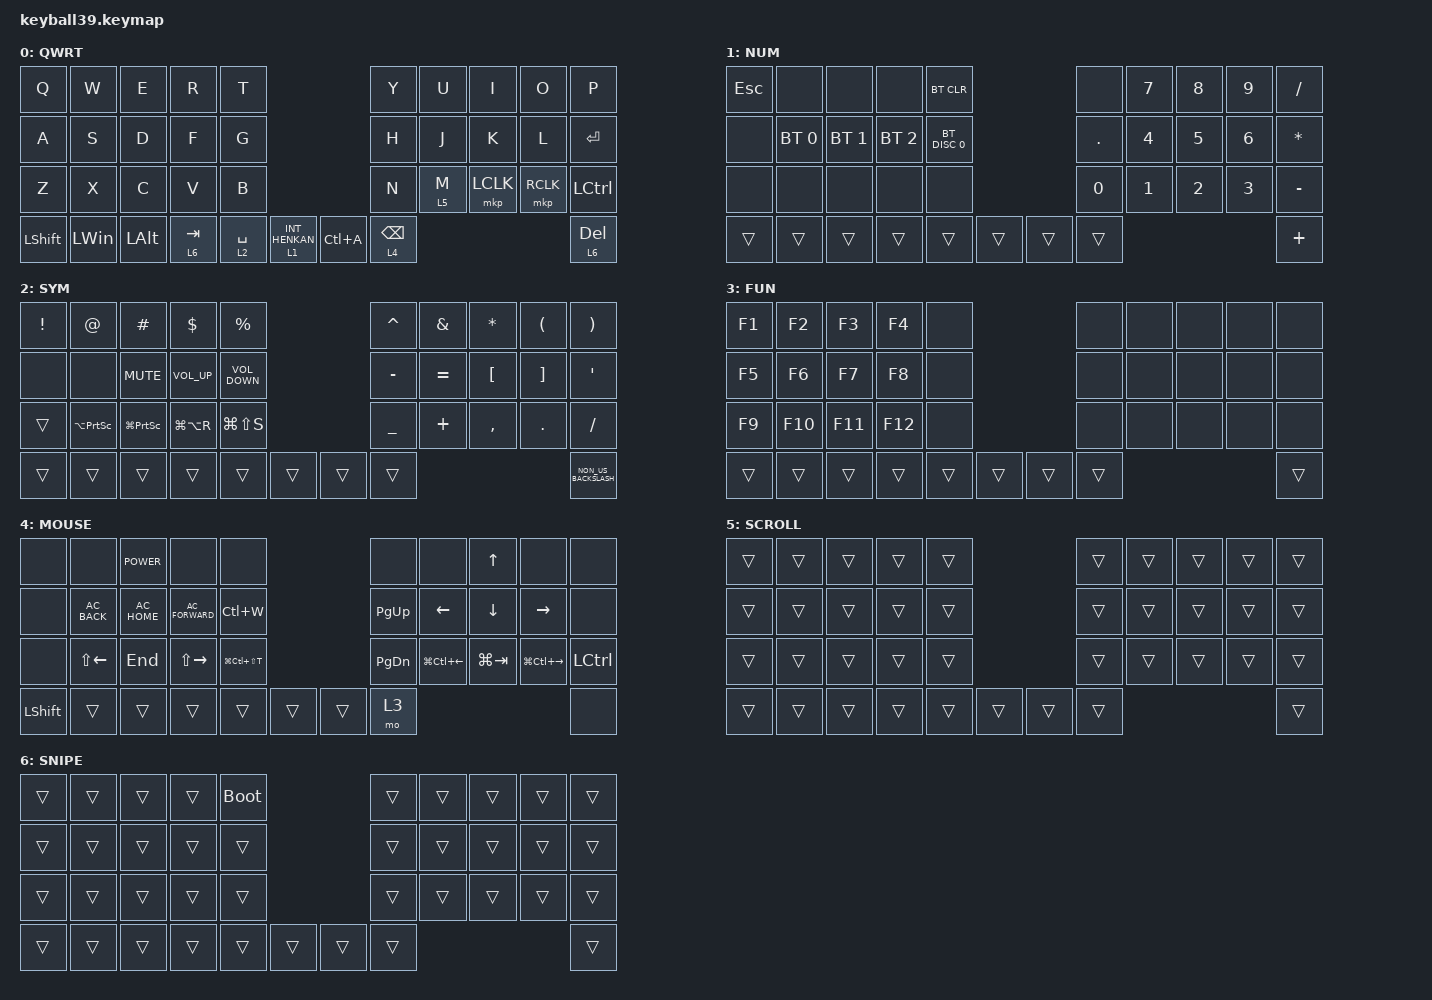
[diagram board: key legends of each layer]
#define DEFAULT 0
#define NUM     1
#define SYM     2
#define FUN     3
#define MOUSE   4
#define SCROLL  5
#define SNIPE   6

#include <behaviors/mouse_keys.dtsi>
#include <dt-bindings/zmk/mouse.h>
#include <behaviors.dtsi>
#include <dt-bindings/zmk/bt.h>
#include <dt-bindings/zmk/keys.h>

&lt {
    tapping-term-ms = <240>;
    flavor = "balanced";
    quick-tap-ms = <150>;
};

&mt {
    tapping-term-ms = <200>;
    flavor = "tap-preferred";
    quick-tap-ms = <150>;
};

&caps_word { continue-list = <UNDERSCORE MINUS>; };

/ {
    // custom shift using mod-morph 

    behaviors {
        cmqus: comma_question {
            compatible = "zmk,behavior-mod-morph";
            label = "COMMA_QUESTION";
            #binding-cells = <0>;
            bindings = <&kp COMMA>, <&kp QUESTION>;

            mods = <(MOD_LSFT|MOD_RSFT)>;
        };

        dtsmi: dot_semi {
            compatible = "zmk,behavior-mod-morph";
            label = "DOT_SEMI";
            #binding-cells = <0>;
            bindings = <&kp DOT>, <&kp SEMI>;

            mods = <(MOD_LSFT|MOD_RSFT)>;
        };
    };

    macros {
        Hiragana: Hiragana {
            compatible = "zmk,behavior-macro";
            #binding-cells = <0>;
            bindings = <&kp LC(SPACE)>;
            label = "HIRAGANA";
        };
    };

    keymap {
        compatible = "zmk,keymap";

        default_layer {
            label = "QWRT";
            bindings = <
&kp Q           &kp W         &kp E     &kp R      &kp T                                    &kp Y            &kp U    &kp I      &kp O      &kp P
&kp A           &kp S         &kp D     &kp F      &kp G                                    &kp H            &kp J    &kp K      &kp L      &kp ENTER
&kp Z           &kp X         &kp C     &kp V      &kp B                                    &kp N            &lt 5 M  &mkp LCLK  &mkp RCLK  &kp LEFT_CONTROL
&kp LEFT_SHIFT  &kp LEFT_WIN  &kp LALT  &lt 6 TAB  &lt 2 SPACE  &lt 1 INT_HENKAN  &kp LC(A)  &lt 4 BACKSPACE                                 &lt 6 DELETE
            >;
        };

        number_layer {
            label = "NUM";
            bindings = <
&kp ESC &none         &none         &none         &bt BT_CLR                     &none         &kp NUMBER_7  &kp NUMBER_8  &kp NUMBER_9  &kp SLASH
&none   &bt BT_SEL 0  &bt BT_SEL 1  &bt BT_SEL 2  &bt BT_DISC 0                  &kp PERIOD    &kp NUMBER_4  &kp NUMBER_5  &kp NUMBER_6  &kp ASTERISK
&none   &none         &none         &none         &none                          &kp NUMBER_0  &kp NUMBER_1  &kp NUMBER_2  &kp NUMBER_3  &kp MINUS
&trans  &trans        &trans        &trans        &trans         &trans  &trans  &trans                                                  &kp PLUS
            >;
        };

        symbol_layer {
            label = "SYM";
            bindings = <
&kp EXCLAMATION  &kp AT_SIGN          &kp HASH             &kp DOLLAR       &kp PERCENT                        &kp CARET       &kp AMPERSAND  &kp ASTERISK      &kp LEFT_PARENTHESIS  &kp RIGHT_PARENTHESIS
&none            &none                &kp K_MUTE           &kp C_VOLUME_UP  &kp C_VOLUME_DOWN                  &kp MINUS       &kp EQUAL      &kp LEFT_BRACKET  &kp RIGHT_BRACKET     &kp SQT
&trans           &kp LA(PRINTSCREEN)  &kp LG(PRINTSCREEN)  &kp LG(LA(R))    &kp LG(LS(S))                      &kp UNDERSCORE  &kp PLUS       &kp COMMA         &kp PERIOD            &kp SLASH
&trans           &trans               &trans               &trans           &trans             &trans  &trans  &trans                                                                 &kp NON_US_BACKSLASH
            >;
        };

        function_layer {
            label = "FUN";
            bindings = <
&kp F1  &kp F2   &kp F3   &kp F4   &none                   &none   &none  &none  &none  &none
&kp F5  &kp F6   &kp F7   &kp F8   &none                   &none   &none  &none  &none  &none
&kp F9  &kp F10  &kp F11  &kp F12  &none                   &none   &none  &none  &none  &none
&trans  &trans   &trans   &trans   &trans  &trans  &trans  &trans                       &trans
            >;
        };

        mouse_layer {
            label = "MOUSE";
            bindings = <
&none           &none              &kp C_POWER    &none                 &none                              &none          &none             &kp UP_ARROW    &none                    &none
&none           &kp C_AC_BACK      &kp C_AC_HOME  &kp C_AC_FORWARD      &kp LC(W)                          &kp PAGE_UP    &kp LEFT          &kp DOWN_ARROW  &kp RIGHT_ARROW          &none
&none           &kp LS(LEFT)       &kp END        &kp LS(RIGHT_ARROW)   &kp LG(LC(LS(T)))                  &kp PAGE_DOWN  &kp LG(LC(LEFT))  &kp LG(TAB)     &kp LG(LC(RIGHT_ARROW))  &kp LEFT_CONTROL
&kp LEFT_SHIFT  &trans             &trans         &trans                &trans             &trans  &trans  &mo 3                                                                     &none
            >;
        };

        scroll_layer {
            label = "SCROLL";
            bindings = <
&trans  &trans  &trans  &trans  &trans                  &trans  &trans  &trans  &trans  &trans
&trans  &trans  &trans  &trans  &trans                  &trans  &trans  &trans  &trans  &trans
&trans  &trans  &trans  &trans  &trans                  &trans  &trans  &trans  &trans  &trans
&trans  &trans  &trans  &trans  &trans  &trans  &trans  &trans                          &trans
            >;
        };

        snipe_layer {
            label = "SNIPE";
            bindings = <
&trans  &trans  &trans  &trans  &bootloader                  &trans  &trans  &trans  &trans  &trans
&trans  &trans  &trans  &trans  &trans                       &trans  &trans  &trans  &trans  &trans
&trans  &trans  &trans  &trans  &trans                       &trans  &trans  &trans  &trans  &trans
&trans  &trans  &trans  &trans  &trans       &trans  &trans  &trans                          &trans
            >;
        };
    };
};
